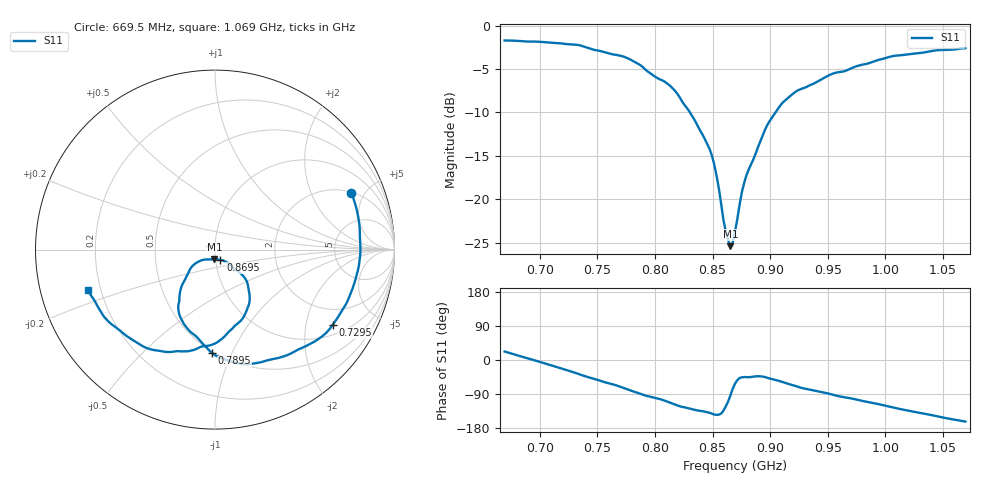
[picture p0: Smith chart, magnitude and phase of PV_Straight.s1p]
#  HZ  S  RI  R  50.00
! Rohde & Schwarz Vector Network Analyzer
! Rohde-Schwarz,ZNB8-2Port,1311601042102944,2.30
! Created: UTC 3/16/2026, 1:10:21 PM
! freq[Hz]  re:S22  im:S22
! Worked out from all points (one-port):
!   201 points, 669.5 MHz to 1.069 GHz, reference 50 ohm
!   lowest |S11| = -25.4 dB at 865.5 MHz (marker M1), VSWR 1.11, Z = 49.4 - j5.3 ohm
!   |S11| at or under -10 dB: 830.4 MHz to 904.6 MHz (74.23 MHz wide, 8.56 % of centre)
!   S11 on the Smith chart (normalised r, x): 669.5 MHz: 2.08, +4.03; 729.5 MHz: 1.34, -2.85; 789.5 MHz: 0.49, -0.84; 869.5 MHz: 1.05, -0.12; 1.069 GHz: 0.15, -0.15
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6.695e8  0.7604 0.3131
6.815e8  0.8012 0.1628
6.955e8  0.8101 -0.0115
7.195e8  0.7266 -0.3099
7.295e8  0.6561 -0.4186
7.435e8  0.5069 -0.5375
7.695e8  0.2278 -0.6327
7.775e8  0.1229 -0.6324
7.895e8  -0.017 -0.5773
8.095e8  -0.1483 -0.4464
8.195e8  -0.2015 -0.3507
8.355e8  -0.1866 -0.2055
8.495e8  -0.1398 -0.1103
8.535e8  -0.1116 -0.0787
8.615e8  -0.0347 -0.0551
8.655e8  -0.0035 -0.0535
8.675e8  0.0136 -0.0545
8.695e8  0.0298 -0.0575
8.775e8  0.088 -0.0879
8.955e8  0.1774 -0.1774
9.095e8  0.1917 -0.2947
9.195e8  0.1622 -0.3698
9.515e8  0.0072 -0.5199
9.695e8  -0.1063 -0.5544
9.955e8  -0.2946 -0.5668
1.0195e9  -0.4699 -0.4958
1.0455e9  -0.6194 -0.3729
1.0695e9  -0.7082 -0.2227
